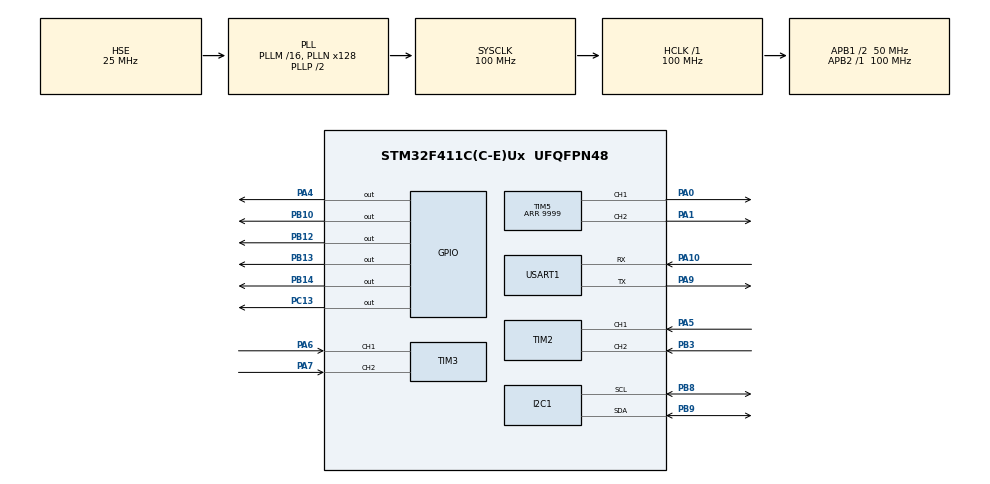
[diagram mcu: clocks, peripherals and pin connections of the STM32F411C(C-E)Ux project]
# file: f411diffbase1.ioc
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I2C1.OwnAddress=11
Mcu.Family=STM32F4
Mcu.Name=STM32F411C(C-E)Ux
Mcu.Package=UFQFPN48
NVIC.I2C1_ER_IRQn=true\:0\:0\:false\:false\:true\:true\:true\:true
NVIC.I2C1_EV_IRQn=true\:0\:0\:false\:false\:true\:true\:true\:true
NVIC.PriorityGroup=NVIC_PRIORITYGROUP_4
PA0-WKUP.Signal=S_TIM5_CH1
PA1.Signal=S_TIM5_CH2
PA10.Mode=Asynchronous
PA10.Signal=USART1_RX
PA13.Mode=Serial_Wire
PA13.Signal=SYS_JTMS-SWDIO
PA14.Mode=Serial_Wire
PA14.Signal=SYS_JTCK-SWCLK
PA4.Signal=GPIO_Output
PA5.Signal=S_TIM2_CH1_ETR
PA6.Signal=S_TIM3_CH1
PA7.Signal=S_TIM3_CH2
PA9.Mode=Asynchronous
PA9.Signal=USART1_TX
PB10.Signal=GPIO_Output
PB12.Signal=GPIO_Output
PB13.Signal=GPIO_Output
PB14.Signal=GPIO_Output
PB3.Signal=S_TIM2_CH2
PB8.Mode=I2C
PB8.Signal=I2C1_SCL
PB9.Mode=I2C
PB9.Signal=I2C1_SDA
PC13-ANTI_TAMP.Signal=GPIO_Output
PH0\ -\ OSC_IN.Mode=HSE-External-Oscillator
PH0\ -\ OSC_IN.Signal=RCC_OSC_IN
PH1\ -\ OSC_OUT.Mode=HSE-External-Oscillator
PH1\ -\ OSC_OUT.Signal=RCC_OSC_OUT
ProjectManager.HeapSize=0x200
ProjectManager.StackSize=0x400
ProjectManager.TargetToolchain=STM32CubeIDE
RCC.48MHZClocksFreq_Value=50000000
RCC.AHBFreq_Value=100000000
RCC.APB1CLKDivider=RCC_HCLK_DIV2
RCC.APB1Freq_Value=50000000
RCC.APB1TimFreq_Value=100000000
RCC.APB2Freq_Value=100000000
RCC.APB2TimFreq_Value=100000000
RCC.CortexFreq_Value=100000000
RCC.HCLKFreq_Value=100000000
RCC.HSE_VALUE=25000000
RCC.HSI_VALUE=16000000
RCC.LSE_VALUE=32768
RCC.PLLN=128
RCC.PLLSourceVirtual=RCC_PLLSOURCE_HSE
RCC.SYSCLKFreq_VALUE=100000000
RCC.SYSCLKSource=RCC_SYSCLKSOURCE_PLLCLK
RCC.VCOOutputFreq_Value=200000000
SH.S_TIM2_CH1_ETR.0=TIM2_CH1,Encoder_Interface
SH.S_TIM2_CH2.0=TIM2_CH2,Encoder_Interface
SH.S_TIM3_CH1.0=TIM3_CH1,Encoder_Interface
SH.S_TIM3_CH2.0=TIM3_CH2,Encoder_Interface
SH.S_TIM5_CH1.0=TIM5_CH1,PWM Generation1 CH1
SH.S_TIM5_CH2.0=TIM5_CH2,PWM Generation2 CH2
TIM2.EncoderMode=TIM_ENCODERMODE_TI12
TIM3.EncoderMode=TIM_ENCODERMODE_TI12
TIM5.Channel-PWM\ Generation1\ CH1=TIM_CHANNEL_1
TIM5.Channel-PWM\ Generation2\ CH2=TIM_CHANNEL_2
TIM5.Period=9999
USART1.VirtualMode=VM_ASYNC
board=custom

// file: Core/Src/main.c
/* USER CODE BEGIN Header */
/**
  ******************************************************************************
  * @file           : main.c
  * @brief          : Main program body
  ******************************************************************************
  * @attention
  *
  * Copyright (c) 2026 STMicroelectronics.
  * All rights reserved.
  *
  * This software is licensed under terms that can be found in the LICENSE file
  * in the root directory of this software component.
  * If no LICENSE file comes with this software, it is provided AS-IS.
  *
  ******************************************************************************
  */
/* USER CODE END Header */
#include "main.h"
#include "i2c.h"
#include "tim.h"
#include "usart.h"
#include "gpio.h"

/* USER CODE BEGIN Includes */

#include <stdio.h>
#include <math.h>
#include <stdlib.h>
#include <stdbool.h>
#include <string.h>

#include "pid_v1.h"

/* USER CODE END Includes */

/* USER CODE BEGIN PD */

// i2c commands protocol
#define CMD_RESET_ENCODERS 1	// direct, todo
#define CMD_SET_PWM 2           // params: pwmLeft, pwmRight
#define CMD_LIDAR_MOTOR_ON 3    // direct
#define CMD_LIDAR_MOTOR_OFF 4   // direct
#define CMD_SET_MOTION 5        // params: leftSetPoint, rightSetpoint, distance
#define CMD_SET_VEL 6			// params: leftSetPoint, rightSetpoint

#define CMD_SET_STPID  10   	// direct toogle (allow / disallow steeringPid)

#define CMD_DEBUG1 11 			// direct toogle
#define CMD_DEBUG2 12 			// direct toogle

#define CMD_SET_LPWM_REF  71	// params: leftSpeedPidOffset, leftSpeedPidMinOutput, leftSpeedPidMaxOutput
#define CMD_SET_RPWM_REF  72	// params: rightSpeedPidOffset, rightSpeedPidMinOutput, rightSpeedPidMaxOutput

#define CMD_SET_PID_KL  81		// params: kp, ki, kd
#define CMD_SET_PID_KR  82		// params: kp, ki, kd
#define CMD_SET_PID_KS  83		// params: kp, ki, kd

#define CMD_SET_PID_ST  90		// params: lsampleTime, rsampleTime

// motors pins
//#define LEFT_IN1   GPIOA, GPIO_PIN_4
//#define LEFT_IN2   GPIOB, GPIO_PIN_10
#define DAIN1  GPIOB, GPIO_PIN_10
#define DAIN2  GPIOA, GPIO_PIN_4
#define DAIN3  GPIOB, GPIO_PIN_12
#define DAIN4  GPIOB, GPIO_PIN_13

// LeftMotor
//#define leftMotorEn ENA
#define leftMotorEnENxTIM 5
#define leftMotorEnENxCH 1
#define leftMotorForward DAIN1
#define leftMotorBackward DAIN2

// RightMotor
//#define rightMotorEn ENB
#define rightMotorEnENxTIM 5
#define rightMotorEnENxCH 2
#define rightMotorForward DAIN3
#define rightMotorBackward DAIN4

//#define PWM_MAX  9999

// pid.h (defines no antigo ficheiro pid.h e usadas no pid.ino e no diffbase.ino)

#define SPEED_PID_SAMPLE_TIME 25.0

// steering PID
#define STEERING_PID_SAMPLE_TIME 50 // 5
#define STEERING_PID_TARGET 0
#define STEERING_PID_MIN_OUTPUT -100
#define STEERING_PID_MAX_OUTPUT 100

// adaptative pid
//#define STEERING_PID_ADAPTATIVE_LIMIT 20
//#define STEERING_PID_ADAPTATIVE_DELAY 100
//#define SPEED_PID_ADAPTATIVE_LIMIT1 15
//#define SPEED_PID_ADAPTATIVE_LIMIT2 30
// speed change process
//#define SPEED_PID_CHANGE_DELAY 300   // time to wait before start change speed (SPEED_PID_SAMPLE_TIME * 12)
//unsigned long speedPidChangeTimer;
//int speedPidStepInterval = 250; // time between speed change steps
//byte speedPidChangeStatus = 0;

//#define MOTOR_TIME 200
//#define LIDAR_MOTOR_PIN PB12

// eof pid.h

/* USER CODE END PD */

/* USER CODE BEGIN PV */

// visual feedback and debug
uint32_t t_led = 0;
uint32_t t_uart = 0;
uint32_t LED_PERIOD  = 500;   // ms
uint32_t UART_PERIOD = 1000;  // ms

bool debug1 = 1;
bool debug2 = 1;

// i2c communications buffer
uint8_t i2c_rx_buf[32];
uint8_t i2c_tx_buf[32];

//
// left encoder and PID control
//
volatile int16_t encoderLeftPulsesRead  = 0;
int32_t encoderLeftPulses = 0;
int16_t encoderLeftLastRead = 0;
int16_t encoderLeftSpeedZeroRef = 0;
int16_t encoderLeftSteeringZeroRef = 0;
int16_t encoderLeftPulsesSpeedPID; 		// the number of pulses for PID
int16_t encoderLeftPulsesSteeringPID; 	// the number of pulses for PID, must be reset at same time
int8_t  encoderLeftSign = +1;   		// usar -1 se motor estiver invertido

// left speed PWM PID control
int16_t leftMotorPwmOut = 0;
int16_t leftMotorPwmOutCmd = 0;
uint16_t leftPwmMax = 0;

int16_t leftSpeedPidOffset = 5620; // MOTOR START MOVING
int16_t leftSpeedPidMinOutput = -2000;
int16_t leftSpeedPidMaxOutput = 4000;

double leftSpeedPidKp0 = 150;
double leftSpeedPidKi0 = 50;
double leftSpeedPidKd0 = 10;

double leftSpeedPidInput = 0;
int16_t leftSpeedPidInputLast = 0; // debug
double leftSpeedPidOutput; // Power supplied to the motor PWM value.
double leftSpeedPidSetPoint;
bool leftSpeedPidResult = false;

double leftSpeedPidSetPointTmp;
int16_t leftSpeedPidSetPointDirection;

PID_t leftSpeedPid;

//
// right encoder and PID control
//
volatile int16_t encoderRightPulsesRead = 0;
int32_t encoderRightPulses = 0;
int16_t encoderRightLastRead = 0;
int16_t encoderRightSpeedZeroRef = 0;
int16_t encoderRightSteeringZeroRef = 0;
int16_t encoderRightPulsesSpeedPID; // the number of pulses PID
int16_t encoderRightPulsesSteeringPID; // the number of pulses for PID, must be reset at same time
int8_t  encoderRightSign = +1;  // usar -1 se motor estiver invertido

// right speed PWM PID control
int16_t rightMotorPwmOut = 0;
int16_t rightMotorPwmOutCmd = 0;
uint16_t rightPwmMax = 0;

int16_t rightSpeedPidOffset = 5600; // MOTOR START MOVING
int16_t rightSpeedPidMinOutput = -2000;
int16_t rightSpeedPidMaxOutput = 4000;

double rightSpeedPidKp0 = 150;
double rightSpeedPidKi0 = 50;
double rightSpeedPidKd0 = 10;

double rightSpeedPidInput = 0;
int16_t rightSpeedPidInputLast = 0; // debug
double rightSpeedPidOutput; // Power supplied to the motor PWM value.
double rightSpeedPidSetPoint;
bool rightSpeedPidResult = false;

double rightSpeedPidSetPointTmp;
int16_t rightSpeedPidSetPointDirection;

PID_t rightSpeedPid;

//
// steering PID control
//
bool allowSteeringPid = false;
bool useSteeringPid = false;

double steeringPidKp0 = 1.0;
double steeringPidKi0 = 0.01;
double steeringPidKd0 = 0.0;

double steeringPidInput = 0;
int16_t steeringPidInputLast = 0;
double steeringPidOutput; // Power supplied to the motor PWM value.
double steeringPidSetPoint;
bool steeringdPidResult = false;

PID_t steeringPid;

// adaptative steering pid
//bool steeringPidAdaptativeStart = false;
//unsigned long steeringPidAdaptativeTimer;
//double steeringPidKp1 = 100.0;
//double steeringPidKi1 = 10.0;
//double steeringPidKd1 = 0;

// adaptative left pid
//double leftSpeedPidKp1 = 6000;
//double leftSpeedPidKi1 = 500;
//double leftSpeedPidKd1 = 0;
//double leftSpeedPidKp2 = 6000;
//double leftSpeedPidKi2 = 500;
//double leftSpeedPidKd2 = 0;

// adaptative right pid
//double rightSpeedPidKp1 = 6000;
//double rightSpeedPidKi1 = 500;
//double rightSpeedPidKd1 = 0;
//double rightSpeedPidKp2 = 6000;
//double rightSpeedPidKi2 = 500;
//double rightSpeedPidKd2 = 0;

/*
long encoderLeftPulsesTarget = 0;
long encoderRightPulsesTarget = 0;
bool encoderLeftPulsesOnTarget = false;
bool encoderRightPulsesOnTarget = false;
bool encoderPulsesTargetEnabled = false;
int encoderLeftPulsesTargetStopOffset = 0;
int encoderRightPulsesTargetStopOffset = 0;

long encoderLeftPulsesTargetStart = 0;
long encoderRightPulsesTargetStart = 0;
*/

//unsigned long motorTimer = 0;
//int motorPwm = 0;
//bool motorPwmUp = true;
//int lidarMotorPower = 0;

// source for PWM to motors
// mode PWM direct or PID
bool PWMdirect = false;

/* USER CODE END PV */

void SystemClock_Config(void);
/* USER CODE BEGIN PFP */

//void apply_motors(int16_t left, int16_t right);
void prepare_i2c_tx(void);

void setup_PID(void);
void update_PID(void);
bool leftSpeedPidCompute(void);
bool rightSpeedPidCompute(void);
bool steeringPidCompute(void);

void pwmWrite(uint8_t tim, uint8_t ch, int16_t pwm);
void bodyMotorsControl(void);

/* USER CODE END PFP */

int main(void)
{

  /* MCU Configuration--------------------------------------------------------*/

  /* Reset of all peripherals, Initializes the Flash interface and the Systick. */
  HAL_Init();

  /* Configure the system clock */
  SystemClock_Config();

  /* Initialize all configured peripherals */
  MX_GPIO_Init();
  MX_I2C1_Init();
  MX_TIM2_Init();
  MX_TIM3_Init();
  MX_TIM5_Init();
  MX_USART1_UART_Init();
  /* USER CODE BEGIN 2 */

  HAL_TIM_Encoder_Start(&htim2, TIM_CHANNEL_ALL);
  HAL_TIM_Encoder_Start(&htim3, TIM_CHANNEL_ALL);

  HAL_TIM_PWM_Start(&htim5, TIM_CHANNEL_1);
  HAL_TIM_PWM_Start(&htim5, TIM_CHANNEL_2);

  HAL_I2C_EnableListen_IT(&hi2c1);

  setup_PID();

  /* USER CODE END 2 */

  /* Infinite loop */
  while (1)
  {

    /* USER CODE BEGIN 3 */

	  static double encoderLeftPulsesLast = 999;
	  static double encoderRightPulsesLast = 999;

	  uint32_t now = HAL_GetTick();

	  // LED blink
	  if ((now - t_led) >= LED_PERIOD)
	  {
	    t_led = now;
	    HAL_GPIO_TogglePin(GPIOC, GPIO_PIN_13);
	  }

	  // read encoders
	  encoderLeftPulsesRead = (int16_t)__HAL_TIM_GET_COUNTER(&htim2);
	  encoderRightPulsesRead = (int16_t)__HAL_TIM_GET_COUNTER(&htim3);

	  // LEFT offset, and update pid encoder pulses variables
	  int16_t leftDelta = encoderLeftPulsesRead - encoderLeftLastRead;
	  // overflow tratado automaticamente por aritmética int16_t
	  encoderLeftLastRead = encoderLeftPulsesRead;
	  encoderLeftPulses += (int32_t)(encoderLeftSign * leftDelta);
	  encoderLeftPulsesSpeedPID = (int16_t)(encoderLeftSign * (encoderLeftPulsesRead - encoderLeftSpeedZeroRef));
	  encoderLeftPulsesSteeringPID = (int16_t)(encoderLeftSign * (encoderLeftPulsesRead - encoderLeftSteeringZeroRef));

	  // RIGHT offset, and update pid encoder pulses variables
	  int16_t rightDelta = encoderRightPulsesRead - encoderRightLastRead;
	  encoderRightLastRead = encoderRightPulsesRead;
	  encoderRightPulses += (int32_t)(encoderRightSign * rightDelta);
	  encoderRightPulsesSpeedPID = (int16_t)(encoderRightSign * (encoderRightPulsesRead - encoderRightSpeedZeroRef));
	  encoderRightPulsesSteeringPID = (int16_t)(encoderRightSign * (encoderRightPulsesRead - encoderRightSteeringZeroRef));

	  // its an old code, not ware of it is realy need... it seams to work. keep it for now
	  if(encoderLeftPulses != encoderLeftPulsesLast || encoderRightPulses != encoderRightPulsesLast) {
	    if(encoderLeftPulses != encoderLeftPulsesLast) encoderLeftPulsesLast = encoderLeftPulses;
	    if(encoderRightPulses != encoderRightPulsesLast) encoderRightPulsesLast = encoderRightPulses;
	  }

	  // check encoder targets
	  // TODO

	  update_PID();

	  // set speed (select and assemble PWM to sent to motors)
	  if(PWMdirect) {
	    leftMotorPwmOut = leftMotorPwmOutCmd;
	    rightMotorPwmOut = rightMotorPwmOutCmd;
	    //PWMdirect = false;
	  } else {
	    leftMotorPwmOut = 0;
	    rightMotorPwmOut = 0;
	    if(leftSpeedPidSetPoint != 0) {
	      leftMotorPwmOut = (leftSpeedPidOffset + leftSpeedPidOutput) * leftSpeedPidSetPointDirection; // - steeringPidOutput;
	    }
	    if(rightSpeedPidSetPoint != 0) {
	      rightMotorPwmOut = (rightSpeedPidOffset + rightSpeedPidOutput) * rightSpeedPidSetPointDirection; // + steeringPidOutput;
	    }
	  }

	  // UART debug
	  if(debug1) {
		  if ((now - t_uart) >= UART_PERIOD)
		  {
			t_uart = now;

			char buf[64];
			int n = sprintf(buf, "LR e= %ld %ld sp= %d %d : %d %d pw=%d %d %d ps=%d %d \r\n",
					encoderLeftPulses,
					encoderRightPulses,
					(int)leftSpeedPidSetPoint,
					(int)rightSpeedPidSetPoint,
					(int)leftSpeedPidSetPoint - (int)leftSpeedPidInputLast,
					(int)rightSpeedPidSetPoint - (int)rightSpeedPidInputLast,
					leftMotorPwmOut,
					rightMotorPwmOut,
					(int)PWMdirect,
					steeringPidInputLast,
					(int)useSteeringPid
					);
			HAL_UART_Transmit(&huart1, (uint8_t*)buf, n, 50);
		  }
	  }

	  bodyMotorsControl();

  }
  /* USER CODE END 3 */
}

void SystemClock_Config(void)
{
  RCC_OscInitTypeDef RCC_OscInitStruct = {0};
  RCC_ClkInitTypeDef RCC_ClkInitStruct = {0};

  /** Configure the main internal regulator output voltage
  */
  __HAL_RCC_PWR_CLK_ENABLE();
  __HAL_PWR_VOLTAGESCALING_CONFIG(PWR_REGULATOR_VOLTAGE_SCALE1);

  /** Initializes the RCC Oscillators according to the specified parameters
  * in the RCC_OscInitTypeDef structure.
  */
  RCC_OscInitStruct.OscillatorType = RCC_OSCILLATORTYPE_HSE;
  RCC_OscInitStruct.HSEState = RCC_HSE_ON;
  RCC_OscInitStruct.PLL.PLLState = RCC_PLL_ON;
  RCC_OscInitStruct.PLL.PLLSource = RCC_PLLSOURCE_HSE;
  RCC_OscInitStruct.PLL.PLLM = 16;
  RCC_OscInitStruct.PLL.PLLN = 128;
  RCC_OscInitStruct.PLL.PLLP = RCC_PLLP_DIV2;
  RCC_OscInitStruct.PLL.PLLQ = 4;
  if (HAL_RCC_OscConfig(&RCC_OscInitStruct) != HAL_OK)
  {
    Error_Handler();
  }

  /** Initializes the CPU, AHB and APB buses clocks
  */
  RCC_ClkInitStruct.ClockType = RCC_CLOCKTYPE_HCLK|RCC_CLOCKTYPE_SYSCLK
                              |RCC_CLOCKTYPE_PCLK1|RCC_CLOCKTYPE_PCLK2;
  RCC_ClkInitStruct.SYSCLKSource = RCC_SYSCLKSOURCE_PLLCLK;
  RCC_ClkInitStruct.AHBCLKDivider = RCC_SYSCLK_DIV1;
  RCC_ClkInitStruct.APB1CLKDivider = RCC_HCLK_DIV2;
  RCC_ClkInitStruct.APB2CLKDivider = RCC_HCLK_DIV1;

  if (HAL_RCC_ClockConfig(&RCC_ClkInitStruct, FLASH_LATENCY_3) != HAL_OK)
  {
    Error_Handler();
  }
}

/* USER CODE BEGIN 4 */

void setup_PID() {

  // adjust PWM limits
  leftPwmMax = leftSpeedPidOffset + leftSpeedPidMaxOutput;
  rightPwmMax = rightSpeedPidOffset + rightSpeedPidMaxOutput;

  //
  // left speed PID
  leftSpeedPidSetPoint = 0;

  PID_Init(&leftSpeedPid, &leftSpeedPidInput, &leftSpeedPidOutput, &leftSpeedPidSetPoint,
		  leftSpeedPidKp0, leftSpeedPidKi0, leftSpeedPidKd0, P_ON_E, DIRECT);

  PID_SetMode(&leftSpeedPid, MANUAL);
  PID_SetSampleTime(&leftSpeedPid, SPEED_PID_SAMPLE_TIME);
  PID_SetOutputLimits(&leftSpeedPid, leftSpeedPidMinOutput, leftSpeedPidMaxOutput);

  //
  // right speed PID
  rightSpeedPidSetPoint = 0;

  PID_Init(&rightSpeedPid, &rightSpeedPidInput, &rightSpeedPidOutput, &rightSpeedPidSetPoint,
		  rightSpeedPidKp0, rightSpeedPidKi0, rightSpeedPidKd0, P_ON_E, DIRECT);

  PID_SetMode(&rightSpeedPid, MANUAL);
  PID_SetSampleTime(&rightSpeedPid, SPEED_PID_SAMPLE_TIME);
  PID_SetOutputLimits(&rightSpeedPid, rightSpeedPidMinOutput, rightSpeedPidMaxOutput);

  //
  // steering PID
  steeringPidSetPoint = STEERING_PID_TARGET;

  PID_Init(&steeringPid, &steeringPidInput, &steeringPidOutput, &steeringPidSetPoint,
		  steeringPidKp0, steeringPidKi0, steeringPidKd0, P_ON_E, REVERSE);

  PID_SetMode(&steeringPid, MANUAL);
  PID_SetSampleTime(&steeringPid, STEERING_PID_SAMPLE_TIME);
  PID_SetOutputLimits(&steeringPid, STEERING_PID_MIN_OUTPUT, STEERING_PID_MAX_OUTPUT);

}

void update_PID() {
  // calculate steeringPid
  if(useSteeringPid) {
    steeringdPidResult = steeringPidCompute();
  } else steeringdPidResult = false;

  // calculate speedPid
  leftSpeedPidResult = leftSpeedPidCompute();
  rightSpeedPidResult = rightSpeedPidCompute();

  if(leftSpeedPidSetPoint && (leftSpeedPidResult || rightSpeedPidResult)) {
	  if(debug2) {
	    char buf[256];
	    int n = sprintf(buf, "e= %ld %ld  usp= %d %d psp= %d %d %d %d po= %d %d %d %d w= %d\r\n",
	    		encoderLeftPulses,
				encoderRightPulses,
	    		(int)useSteeringPid,
				steeringPidInputLast,
				(int)leftSpeedPidSetPoint,
				(int)rightSpeedPidSetPoint,
				leftSpeedPidInputLast - (int)leftSpeedPidSetPoint,
				rightSpeedPidInputLast - (int)rightSpeedPidSetPoint,
				(int)leftSpeedPidOutput,
				(int)rightSpeedPidOutput,
				leftMotorPwmOut,
				rightMotorPwmOut,
				(int)PWMdirect
				);
	    HAL_UART_Transmit(&huart1, (uint8_t*)buf, n, 50);
	  }
  }
}

bool leftSpeedPidCompute() {
  bool pidResult;

  if(useSteeringPid) {
    leftSpeedPidInput = abs(encoderLeftPulsesSpeedPID) + (abs(encoderLeftPulsesSpeedPID) * steeringPidOutput / 100);
  } else {
    leftSpeedPidInput = abs(encoderLeftPulsesSpeedPID);
  }

  // adaptative code here. see old file

  pidResult = PID_Compute(&leftSpeedPid);
  if(pidResult) {
	encoderLeftSpeedZeroRef  = encoderLeftPulsesRead;
    encoderLeftPulsesSpeedPID = 0;
    leftSpeedPidInputLast = leftSpeedPidInput;
  }
  return pidResult;
}

bool rightSpeedPidCompute() {
  bool pidResult;

  if(useSteeringPid) {
    rightSpeedPidInput = abs(encoderRightPulsesSpeedPID) - (abs(encoderRightPulsesSpeedPID) * steeringPidOutput / 100);
  } else {
    rightSpeedPidInput = abs(encoderRightPulsesSpeedPID);
  }

  // adaptative code here. see old file

  pidResult = PID_Compute(&rightSpeedPid);
  if(pidResult) {
	encoderRightSpeedZeroRef = encoderRightPulsesRead;
    encoderRightPulsesSpeedPID = 0;
    rightSpeedPidInputLast = rightSpeedPidInput;
  }
  return pidResult;
}

bool steeringPidCompute() {
  bool pidResult;

  // calculate PWM wheel difference correction using PID
  steeringPidInput = abs(encoderLeftPulsesSteeringPID) - abs(encoderRightPulsesSteeringPID);

  // adaptative code here. see old file

  pidResult = PID_Compute(&steeringPid);
  if(pidResult) {
    steeringPidInputLast = steeringPidInput;
  }
  return pidResult;
}

static inline void setBodyMotorLeftForward(void){
  HAL_GPIO_WritePin(leftMotorForward, GPIO_PIN_SET);
  HAL_GPIO_WritePin(leftMotorBackward, GPIO_PIN_RESET);
}

static inline void setBodyMotorLeftBackward(void){
  HAL_GPIO_WritePin(leftMotorForward, GPIO_PIN_RESET);
  HAL_GPIO_WritePin(leftMotorBackward, GPIO_PIN_SET);
}

static inline void setBodyMotorLeftStop(void){
  HAL_GPIO_WritePin(leftMotorForward, GPIO_PIN_RESET);
  HAL_GPIO_WritePin(leftMotorBackward, GPIO_PIN_RESET);
}

static inline void setBodyMotorLeftBrake() {
  HAL_GPIO_WritePin(leftMotorForward, GPIO_PIN_SET);
  HAL_GPIO_WritePin(leftMotorBackward, GPIO_PIN_SET);
}

static inline void setBodyMotorRightForward(void){
  HAL_GPIO_WritePin(rightMotorForward, GPIO_PIN_SET);
  HAL_GPIO_WritePin(rightMotorBackward, GPIO_PIN_RESET);
}

static inline void setBodyMotorRightBackward(void){
  HAL_GPIO_WritePin(rightMotorForward, GPIO_PIN_RESET);
  HAL_GPIO_WritePin(rightMotorBackward, GPIO_PIN_SET);
}

static inline void setBodyMotorRightStop(void){
  HAL_GPIO_WritePin(rightMotorForward, GPIO_PIN_RESET);
  HAL_GPIO_WritePin(rightMotorBackward, GPIO_PIN_RESET);
}

static inline void setBodyMotorRightBrake() {
  HAL_GPIO_WritePin(rightMotorForward, GPIO_PIN_SET);
  HAL_GPIO_WritePin(rightMotorBackward, GPIO_PIN_SET);
}

void pwmWrite(uint8_t tim, uint8_t ch, int16_t pwm) {

	switch (tim) {
	case 5:
		switch (ch) {
		case 1:
			__HAL_TIM_SET_COMPARE(&htim5, TIM_CHANNEL_1, pwm);
			break;
		case 2:
			__HAL_TIM_SET_COMPARE(&htim5, TIM_CHANNEL_2, pwm);
			break;
		}
		break;
	// add other tim's cases
	}

}

void bodyMotorsControl(void) {
  // brake control vars
  uint8_t leftBrake = false;
  uint8_t rightBrake = false;

  // brake control logic
  // TODO

  // set motor left direction & speed
  if(leftMotorPwmOut == 0) {

    if(leftBrake) {
      setBodyMotorLeftBrake();
      pwmWrite(leftMotorEnENxTIM, leftMotorEnENxCH, leftPwmMax);
    } else {
      setBodyMotorLeftStop();
      pwmWrite(leftMotorEnENxTIM, leftMotorEnENxCH, 0);
    }

  } else if(leftMotorPwmOut > 0) {
    setBodyMotorLeftForward();
    pwmWrite(leftMotorEnENxTIM, leftMotorEnENxCH, (leftMotorPwmOut > leftPwmMax ? leftPwmMax : leftMotorPwmOut));

  } else {
    setBodyMotorLeftBackward();
    pwmWrite(leftMotorEnENxTIM, leftMotorEnENxCH, (abs(leftMotorPwmOut) > leftPwmMax ? leftPwmMax : abs(leftMotorPwmOut)));
  }

  // set motor right direction & speed
  if(rightMotorPwmOut == 0) {

    if(rightBrake) {
      setBodyMotorRightBrake();
      pwmWrite(rightMotorEnENxTIM, rightMotorEnENxCH, rightPwmMax);
    } else {
      setBodyMotorRightStop();
      pwmWrite(rightMotorEnENxTIM, rightMotorEnENxCH, 0);
    }

  } else if(rightMotorPwmOut > 0) {
    setBodyMotorRightForward();
    pwmWrite(rightMotorEnENxTIM, rightMotorEnENxCH, (rightMotorPwmOut > rightPwmMax ? rightPwmMax : rightMotorPwmOut));
  } else {
    setBodyMotorRightBackward();
    pwmWrite(rightMotorEnENxTIM, rightMotorEnENxCH, (abs(rightMotorPwmOut) > rightPwmMax ? rightPwmMax : abs(rightMotorPwmOut)));
  }

}

void HAL_I2C_AddrCallback(I2C_HandleTypeDef *hi2c,
                          uint8_t TransferDirection,
                          uint16_t AddrMatchCode)
{
  if (hi2c->Instance == I2C1)
  {
    if (TransferDirection == I2C_DIRECTION_TRANSMIT)
    {
      // master write we receive
      HAL_I2C_Slave_Seq_Receive_IT(hi2c, i2c_rx_buf, 32, I2C_FIRST_AND_LAST_FRAME);
    }
    else
    {
      prepare_i2c_tx();
      // master will read we send
      HAL_I2C_Slave_Seq_Transmit_IT(hi2c, i2c_tx_buf, 32, I2C_FIRST_FRAME);
    }
  }
}

void HAL_I2C_SlaveRxCpltCallback(I2C_HandleTypeDef *hi2c)
{
  if (hi2c->Instance != I2C1) return;

  double Kp, Ki, Kd;

  // for debug
  //char buf[128];

  // semi explicit protocol
  typedef union {
      uint8_t  b[4];
      int16_t  h[2];
      int32_t  i;
      float    f;
  } i2c_word_t;

  // convert the received i2c message buffer bytes
  i2c_word_t i2c_data[8];
  memcpy(i2c_data, i2c_rx_buf, 32);

  uint8_t cmd = i2c_rx_buf[0];

  switch (cmd)
  {
    case CMD_RESET_ENCODERS: // CMD_RESET_ENCODERS
      //HAL_TIM_Encoder_Stop(&htim2, TIM_CHANNEL_ALL);
	  //HAL_TIM_Encoder_Stop(&htim3, TIM_CHANNEL_ALL);

	  //__HAL_TIM_SET_COUNTER(&htim2, 0);
      //__HAL_TIM_SET_COUNTER(&htim3, 0);

      //HAL_TIM_Encoder_Start(&htim2, TIM_CHANNEL_ALL);
      //HAL_TIM_Encoder_Start(&htim3, TIM_CHANNEL_ALL);

      //encoderLeftPulses = 0;
      //encoderRightPulses = 0;
      break;

    case CMD_SET_PWM: // CMD_SET_PWM
      leftMotorPwmOutCmd    = (int16_t) i2c_data[1].i;
      rightMotorPwmOutCmd   = (int16_t) i2c_data[2].i;
      steeringPidInputLast = 0;
      PWMdirect = true;
      break;

    case CMD_LIDAR_MOTOR_ON: // CMD_LIDAR_MOTOR_ON
        // lidar motor on
        //lidarMotorPower = HIGH;
        //digitalWrite(LIDAR_MOTOR_PIN, lidarMotorPower);
    	// debug
    	//int n3ab12 = sprintf(buf, "CMD_LIDAR_MOTOR_ON %d \r\n", (int)allowSteeringPid);
    	//HAL_UART_Transmit(&huart1, (uint8_t*)buf, n3ab12, 50);

      break;

    case CMD_LIDAR_MOTOR_OFF: // CMD_LIDAR_MOTOR_OFF
        // lidar motor off
        //lidarMotorPower = LOW;
        //digitalWrite(LIDAR_MOTOR_PIN, lidarMotorPower);
      break;

    case CMD_SET_MOTION: // CMD_SET_MOTION
    case CMD_SET_VEL: // CMD_SET_VEL

      PWMdirect = false;
      leftSpeedPidSetPointTmp    = i2c_data[1].i;
      rightSpeedPidSetPointTmp   = i2c_data[2].i;

      //leftSpeedPidSetPointTmp  = ((int16_t*)i2c_rx_buf)[1];
      //rightSpeedPidSetPointTmp = ((int16_t*)i2c_rx_buf)[2];

      //if(cmd == CMD_SET_MOTION) {
      //  encoderPulsesTarget = ((int16_t*)i2c_rx_buf)[3];
      //} else {
      //  encoderPulsesTarget = 0;
      //}

      // set left motors direction and speed
      if(leftSpeedPidSetPointTmp > 0) {
        leftSpeedPidSetPointDirection = 1;
        leftSpeedPidSetPoint = round(leftSpeedPidSetPointTmp);
      } else if(leftSpeedPidSetPointTmp < 0) {
        leftSpeedPidSetPointDirection = -1;
        leftSpeedPidSetPoint = round(abs(leftSpeedPidSetPointTmp));
      } else {
        leftSpeedPidSetPointDirection = 0;
        leftSpeedPidSetPoint = round(leftSpeedPidSetPointTmp);
      }

      // set right motors direction and speed
      if(rightSpeedPidSetPointTmp > 0) {
        rightSpeedPidSetPointDirection = 1;
        rightSpeedPidSetPoint = round(rightSpeedPidSetPointTmp);
      } else if(rightSpeedPidSetPointTmp < 0) {
        rightSpeedPidSetPointDirection = -1;
        rightSpeedPidSetPoint = round(abs(rightSpeedPidSetPointTmp));
      } else {
        rightSpeedPidSetPointDirection = 0;
        rightSpeedPidSetPoint = 0;
      }

      PID_SetMode(&leftSpeedPid, AUTOMATIC);
      PID_SetMode(&rightSpeedPid, AUTOMATIC);

      // switch on/off the steering pid
      if(leftSpeedPidSetPoint == rightSpeedPidSetPoint && leftSpeedPidSetPoint != 0) {
        // rotate or linear translation

    	if(allowSteeringPid) {
			PID_SetMode(&steeringPid, AUTOMATIC);
			useSteeringPid = true;

			useSteeringPid = false; ///

			encoderLeftSteeringZeroRef  = encoderLeftPulsesRead;
			encoderLeftPulsesSteeringPID = 0;
			encoderRightSteeringZeroRef = encoderRightPulsesRead;
			encoderRightPulsesSteeringPID = 0;
			steeringPidInputLast = 0;
    	}

      } else {
        // curve
    	PID_SetMode(&steeringPid, MANUAL);
        useSteeringPid = false;
        encoderLeftSteeringZeroRef  = encoderLeftPulsesRead;
        encoderLeftPulsesSteeringPID = 0;
        encoderRightSteeringZeroRef = encoderRightPulsesRead;
        encoderRightPulsesSteeringPID = 0;
        steeringPidInputLast = 0;
      }

      // set the target for encoders if any
      //if(encoderPulsesTarget) { }
      break;

    case CMD_SET_STPID:
    	allowSteeringPid = !allowSteeringPid;
    	break;

    case CMD_DEBUG1:
    	debug1 = !debug1;
    	break;

    case CMD_DEBUG2:
    	debug2 = !debug2;
    	break;

    case CMD_SET_LPWM_REF:
    	leftSpeedPidOffset    = i2c_data[1].i;
    	leftSpeedPidMinOutput    = i2c_data[2].i;
    	leftSpeedPidMaxOutput    = i2c_data[3].i;
    	leftPwmMax = leftSpeedPidOffset + leftSpeedPidMaxOutput;
    	PID_SetOutputLimits(&leftSpeedPid, leftSpeedPidMinOutput, leftSpeedPidMaxOutput);
    	break;

    case CMD_SET_RPWM_REF:
    	rightSpeedPidOffset    = i2c_data[1].i;
    	rightSpeedPidMinOutput    = i2c_data[2].i;
    	rightSpeedPidMaxOutput    = i2c_data[3].i;
    	rightPwmMax = rightSpeedPidOffset + rightSpeedPidMaxOutput;
    	PID_SetOutputLimits(&rightSpeedPid, leftSpeedPidMinOutput, leftSpeedPidMaxOutput);
    	break;

    case CMD_SET_PID_KL: // CMD_SET_PID_KL
        Kp = (float) i2c_data[1].i / 1000.0f;
        Ki = (float) i2c_data[2].i / 1000.0f;
        Kd = (float) i2c_data[3].i / 1000.0f;
        PID_SetTuningsSimple(&leftSpeedPid, Kp, Ki, Kd);
		// debug
        //Kp = PID_GetKp(&leftSpeedPid);
        //Ki = PID_GetKi(&leftSpeedPid);
        //Kd = PID_GetKd(&leftSpeedPid);
		//int n1b = sprintf(buf, "effect left K %d %d %d \r\n", (int)(Kp * 1000), (int)(Ki * 1000), (int)(Kd * 1000));
		//HAL_UART_Transmit(&huart1, (uint8_t*)buf, n1b, 50);
        break;

    case CMD_SET_PID_KR: // CMD_SET_PID_KR
        Kp = (float) i2c_data[1].i / 1000.0f;
        Ki = (float) i2c_data[2].i / 1000.0f;
        Kd = (float) i2c_data[3].i / 1000.0f;
        PID_SetTuningsSimple(&rightSpeedPid, Kp, Ki, Kd);
        break;

    case CMD_SET_PID_KS: // CMD_SET_PID_KS
        Kp = (float) i2c_data[1].i / 1000.0f;
        Ki = (float) i2c_data[2].i / 1000.0f;
        Kd = (float) i2c_data[3].i / 1000.0f;
        PID_SetTuningsSimple(&steeringPid, Kp, Ki, Kd);
		break;

    case CMD_SET_PID_ST:
    	PID_SetSampleTime(&leftSpeedPid, i2c_data[1].i);
    	PID_SetSampleTime(&rightSpeedPid, i2c_data[2].i);
      	break;
  }
}

void prepare_i2c_tx(void)
{

  /*
  // old version
  int16_t *tx = (int16_t*)i2c_tx_buf;
  tx[0] = 0;
  tx[1] = encoderLeftPulses;
  tx[2] = encoderRightPulses;
  tx[3] = leftSpeedPidSetPoint - leftSpeedPidInputLast;
  tx[4] = rightSpeedPidSetPoint - rightSpeedPidInputLast;
  tx[5] = steeringPidInputLast;
  */

  union u_tag {
    uint8_t b[4];
    int32_t i;
  } i2c_data[6];

  i2c_data[0].i = 0;
  i2c_data[1].i = encoderLeftPulses;
  i2c_data[2].i = encoderRightPulses;
  i2c_data[3].i = leftSpeedPidSetPoint - leftSpeedPidInputLast;
  i2c_data[4].i = rightSpeedPidSetPoint - rightSpeedPidInputLast;
  i2c_data[5].i = steeringPidInputLast;

  memcpy(i2c_tx_buf, i2c_data, 24);

}

void HAL_I2C_SlaveTxCpltCallback(I2C_HandleTypeDef *hi2c)
{
  prepare_i2c_tx();
}

void HAL_I2C_ListenCpltCallback(I2C_HandleTypeDef *hi2c)
{
  HAL_I2C_EnableListen_IT(hi2c);
}

/* USER CODE END 4 */

void Error_Handler(void)
{
  __disable_irq();
  while (1)
  {
  }
}
